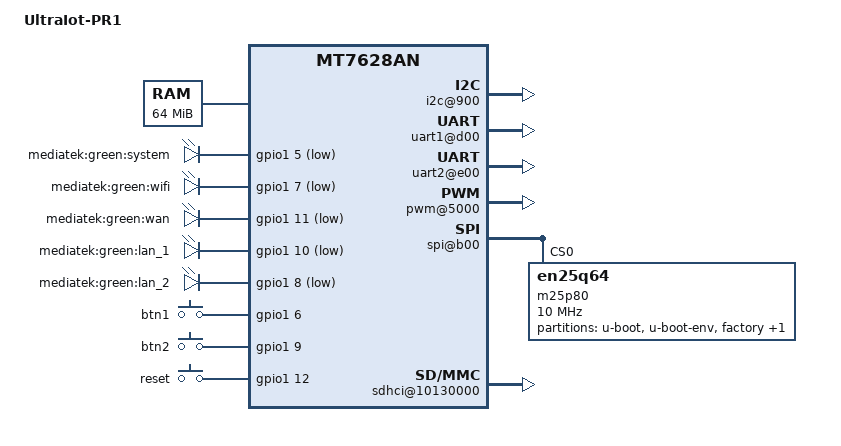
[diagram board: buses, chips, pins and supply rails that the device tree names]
/dts-v1/;

/include/ "mt7628an.dtsi"

/ {
	compatible = "UltraIot-PR1", "mediatek,mt7628an-soc";
	model = "UltraIot-PR1";
	
	chosen {
                bootargs = "console=ttyS0,115200";
        };

	memory@0 {
		device_type = "memory";
		reg = <0x0 0x4000000>;
	};

	pinctrl {
		state_default: pinctrl0 {
			gpio {
				ralink,group = "pwm0","pwm1","refclk","p0_led_an","p1_led_an","p3_led_an","p4_led_an","wled_an","wdt","p2_led_an","gpio" ;
				ralink,function = "gpio";
			};


			spis {
				ralink,group = "spis";
				ralink,function = "pwm_uart2";
			};
			
			i2s {
                                ralink,group = "i2s";
                                ralink,function = "i2s";
                        };

		};

		uart2_pins: uart2 {
			uart2 {
				ralink,group = "uart2";
				ralink,function = "uart2";
			};
		};
		
	};

	palmbus@10000000 {
	        i2c@900 {
                        status = "okay";
                };

 
	       i2s@a00 {
			status = "okey";

		};

               uart1@d00 {
                        status = "okay";
                };

                uart2@e00 {
                        status = "okay";
                };

		pwm@5000 {
                        status = "okay";
                };
		
		spi@b00 {
			status = "okay";

			m25p80@0 {
				#address-cells = <1>;
				#size-cells = <1>;
				compatible = "en25q64";
				reg = <0 0>;
				linux,modalias = "w25q64", "w25q128","w25q256";
				spi-max-frequency = <10000000>;
				m25p,chunked-io = <32>;

				partition@0 {
					label = "u-boot";
					reg = <0x0 0x30000>;
					read-only;
				};

				partition@30000 {
					label = "u-boot-env";
					reg = <0x30000 0x10000>;
					read-only;
				};

				factory: partition@40000 {
					label = "factory";
					reg = <0x40000 0x10000>;
					read-only;
				};

				partition@50000 {
					label = "firmware";
					reg = <0x50000 0x7b0000>;
				};
			};
		};

	};


	sdhci@10130000 {
                status = "okay";
                mediatek,cd-low;
        };

        ethernet@10100000 {
                mtd-mac-address = <&factory 0x28>;
        };


	gpio-leds {
                compatible = "gpio-leds";
                
		system {
                        label = "mediatek:green:system";
                        gpios = <&gpio1 5 1>;
                        default-state = "off";
                };
		
                wifi {
                        label = "mediatek:green:wifi";
                        gpios = <&gpio1 7 1>;
                        default-state = "off";
                };

                wan {
                        label = "mediatek:green:wan";
                        gpios = <&gpio1 11 1>;
                        default-state = "off";
                };

		
                lan1 {
                        label = "mediatek:green:lan_1";
                        gpios = <&gpio1 10 1>;
                        default-state = "off";
                };

                lan2 {
                        label = "mediatek:green:lan_2";
                        gpios = <&gpio1 8 1>;
                        default-state = "off";
                };

        };

	gpio-keys-polled {
                compatible = "gpio-keys-polled";
                #address-cells = <1>;
                #size-cells = <0>;
                poll-interval = <20>;

                btn1 {
                        label = "btn1";
                        gpios = <&gpio1 6 0>;
                        linux,code = <0x101>;
                };

                btn2 {
                        label = "btn2";
                        gpios = <&gpio1 9 0>;
                        linux,code = <0x102>;
                };
		
                reset {
                        label = "reset";
                        gpios = <&gpio1 12 0>;
                        linux,code = <0x198>;
                };

        };	

};
